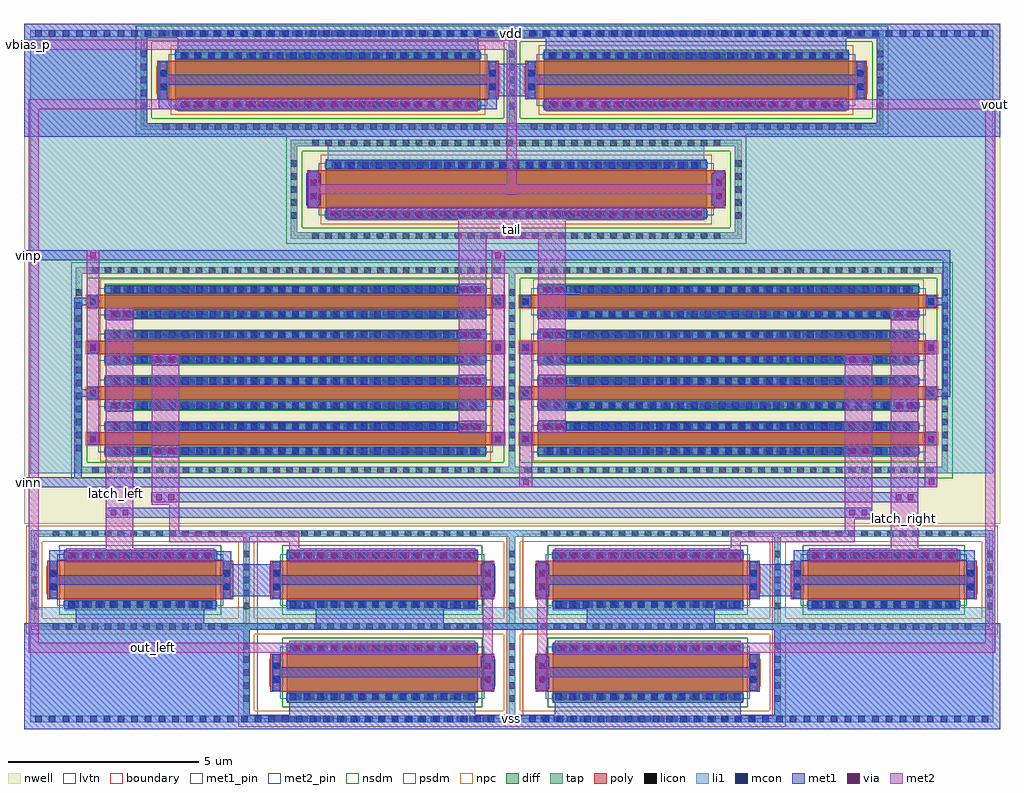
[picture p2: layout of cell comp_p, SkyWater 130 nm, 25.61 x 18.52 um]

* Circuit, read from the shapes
.subckt comp_p latch_left latch_right out_left tail vbias_p vdd vinn vinp vout vss
XM1 latch_left latch_left vss vss sky130_fd_pr__nfet_01v8_lvt w=4 l=1
XM2 out_left latch_left vss vss sky130_fd_pr__nfet_01v8_lvt w=5 l=1
XM3 latch_right latch_left vss vss sky130_fd_pr__nfet_01v8_lvt w=5 l=1
XM4 vout latch_right vss vss sky130_fd_pr__nfet_01v8_lvt w=5 l=1
XM5 latch_left latch_right vss vss sky130_fd_pr__nfet_01v8_lvt w=5 l=1
XM6 latch_right latch_right vss vss sky130_fd_pr__nfet_01v8_lvt w=4 l=1
XM7 tail vinp latch_right vdd sky130_fd_pr__pfet_01v8_lvt w=9.995 l=0.35 m=4
XM8 tail vinn latch_left vdd sky130_fd_pr__pfet_01v8_lvt w=9.995 l=0.35 m=4
XM9 vdd out_left out_left vdd sky130_fd_pr__pfet_01v8_lvt w=8 l=1
XM10 vdd vbias_p tail vdd sky130_fd_pr__pfet_01v8_lvt w=10 l=1
XM11 vdd out_left vout vdd sky130_fd_pr__pfet_01v8_lvt w=8 l=1
.ends

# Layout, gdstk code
from math import pi, radians
import gdstk
lib = gdstk.Library(unit=1e-6, precision=1e-09)
def R(c, l, rs):  # rectangles x0, y0, x1, y1
    for r in rs: c.add(gdstk.rectangle(r[:2], r[2:], *l))
def A(c, l, x, y, w, h, nx, ny, dx, dy):  # array of equal rectangles
    R(c, l, [(x+i*dx, y+j*dy, x+i*dx+w, y+j*dy+h) for i in range(nx) for j in range(ny)])
nwell = (64, 20)
diff = (65, 20)
tap = (65, 44)
poly = (66, 20)
licon = (66, 44)
li1 = (67, 20)
mcon = (67, 44)
met1_pin = (68, 16)
met1 = (68, 20)
via = (68, 44)
met2_pin = (69, 16)
met2 = (69, 20)
nsdm = (93, 44)
psdm = (94, 20)
npc = (95, 20)
lvtn = (125, 44)
boundary = (235, 4)

sky130_fd_pr__pfet_01v8_ = lib.new_cell('sky130_fd_pr__pfet_01v8_lvt_GUWLND')
R(sky130_fd_pr__pfet_01v8_, nwell, [(-1.48,-6.095,1.48,6.095)])
R(sky130_fd_pr__pfet_01v8_, diff, [(-0.79,-5,0.79,5)])
R(sky130_fd_pr__pfet_01v8_, tap, [(-1.3,-5.915,1.3,-5.745), (-1.3,-5.745,-1.13,5.745), (1.13,-5.745,1.3,5.745), (-1.3,5.745,1.3,5.915)])
R(sky130_fd_pr__pfet_01v8_, poly, [(-0.5,-5.485,0.5,5.485)])
A(sky130_fd_pr__pfet_01v8_, licon, -0.765, -5.915, 0.17, 0.17, 5, 2, 0.34, 11.66)
A(sky130_fd_pr__pfet_01v8_, licon, -1.3, -5.355, 0.17, 0.17, 1, 32, 0, 0.34)
A(sky130_fd_pr__pfet_01v8_, licon, 1.13, -5.355, 0.17, 0.17, 1, 32, 0, 0.34)
A(sky130_fd_pr__pfet_01v8_, licon, -0.73, -4.845, 0.17, 0.17, 1, 29, 0, 0.34)
A(sky130_fd_pr__pfet_01v8_, licon, 0.56, -4.845, 0.17, 0.17, 1, 29, 0, 0.34)
R(sky130_fd_pr__pfet_01v8_, licon, [(-0.255,-5.405,-0.085,-5.235), (0.085,-5.405,0.255,-5.235), (-0.255,5.235,-0.085,5.405), (0.085,5.235,0.255,5.405)])
R(sky130_fd_pr__pfet_01v8_, li1, [(-1.3,-5.915,1.3,-5.745), (-1.3,-5.745,-1.13,5.745), (1.13,-5.745,1.3,5.745), (-0.5,-5.405,0.5,-5.235), (-0.73,-5.02,-0.56,5.02), (0.56,-5.02,0.73,5.02), (-0.5,5.235,0.5,5.405), (-1.3,5.745,1.3,5.915)])
A(sky130_fd_pr__pfet_01v8_, mcon, -0.73, -4.765, 0.17, 0.17, 1, 27, 0, 0.36)
A(sky130_fd_pr__pfet_01v8_, mcon, 0.56, -4.765, 0.17, 0.17, 1, 27, 0, 0.36)
R(sky130_fd_pr__pfet_01v8_, mcon, [(-0.265,-5.405,-0.095,-5.235), (0.095,-5.405,0.265,-5.235), (-0.265,5.235,-0.095,5.405), (0.095,5.235,0.265,5.405)])
R(sky130_fd_pr__pfet_01v8_, met1, [(-0.48,-5.435,0.48,-5.205), (-0.76,-5,-0.53,5), (0.53,-5,0.76,5), (-0.48,5.205,0.48,5.435)])
R(sky130_fd_pr__pfet_01v8_, nsdm, [(-1.425,-6.04,1.425,-5.62), (-1.425,-5.62,-1.005,5.62), (1.005,-5.62,1.425,5.62), (-1.425,5.62,1.425,6.04)])
R(sky130_fd_pr__pfet_01v8_, psdm, [(-0.915,-5.125,0.915,5.125)])
R(sky130_fd_pr__pfet_01v8_, npc, [(-0.355,-5.505,0.355,-5.135), (-0.355,5.135,0.355,5.505)])
R(sky130_fd_pr__pfet_01v8_, lvtn, [(-0.68,-5.18,0.68,5.18)])
R(sky130_fd_pr__pfet_01v8_, boundary, [(-1.215,-5.83,1.215,5.83)])

c_sky130_fd_pr__pfet_01v8_ = lib.new_cell('sky130_fd_pr__pfet_01v8_lvt_5VNMZ8')
R(c_sky130_fd_pr__pfet_01v8_, nwell, [(-1.48,-5.095,1.48,5.095)])
R(c_sky130_fd_pr__pfet_01v8_, diff, [(-0.79,-4,0.79,4)])
R(c_sky130_fd_pr__pfet_01v8_, tap, [(-1.3,-4.915,1.3,-4.745), (-1.3,-4.745,-1.13,4.745), (1.13,-4.745,1.3,4.745), (-1.3,4.745,1.3,4.915)])
R(c_sky130_fd_pr__pfet_01v8_, poly, [(-0.5,-4.485,0.5,4.485)])
A(c_sky130_fd_pr__pfet_01v8_, licon, -0.765, -4.915, 0.17, 0.17, 5, 2, 0.34, 9.66)
A(c_sky130_fd_pr__pfet_01v8_, licon, -1.3, -4.335, 0.17, 0.17, 1, 26, 0, 0.34)
A(c_sky130_fd_pr__pfet_01v8_, licon, 1.13, -4.335, 0.17, 0.17, 1, 26, 0, 0.34)
A(c_sky130_fd_pr__pfet_01v8_, licon, -0.73, -3.825, 0.17, 0.17, 1, 23, 0, 0.34)
A(c_sky130_fd_pr__pfet_01v8_, licon, 0.56, -3.825, 0.17, 0.17, 1, 23, 0, 0.34)
R(c_sky130_fd_pr__pfet_01v8_, licon, [(-0.255,-4.405,-0.085,-4.235), (0.085,-4.405,0.255,-4.235), (-0.255,4.235,-0.085,4.405), (0.085,4.235,0.255,4.405)])
R(c_sky130_fd_pr__pfet_01v8_, li1, [(-1.3,-4.915,1.3,-4.745), (-1.3,-4.745,-1.13,4.745), (1.13,-4.745,1.3,4.745), (-0.5,-4.405,0.5,-4.235), (-0.73,-4.02,-0.56,4.02), (0.56,-4.02,0.73,4.02), (-0.5,4.235,0.5,4.405), (-1.3,4.745,1.3,4.915)])
A(c_sky130_fd_pr__pfet_01v8_, mcon, -0.73, -3.865, 0.17, 0.17, 1, 22, 0, 0.36)
A(c_sky130_fd_pr__pfet_01v8_, mcon, 0.56, -3.865, 0.17, 0.17, 1, 22, 0, 0.36)
R(c_sky130_fd_pr__pfet_01v8_, mcon, [(-0.265,-4.405,-0.095,-4.235), (0.095,-4.405,0.265,-4.235), (-0.265,4.235,-0.095,4.405), (0.095,4.235,0.265,4.405)])
R(c_sky130_fd_pr__pfet_01v8_, met1, [(-0.48,-4.435,0.48,-4.205), (-0.76,-4,-0.53,4), (0.53,-4,0.76,4), (-0.48,4.205,0.48,4.435)])
R(c_sky130_fd_pr__pfet_01v8_, nsdm, [(-1.425,-5.04,1.425,-4.62), (-1.425,-4.62,-1.005,4.62), (1.005,-4.62,1.425,4.62), (-1.425,4.62,1.425,5.04)])
R(c_sky130_fd_pr__pfet_01v8_, psdm, [(-0.915,-4.125,0.915,4.125)])
R(c_sky130_fd_pr__pfet_01v8_, npc, [(-0.355,-4.505,0.355,-4.135), (-0.355,4.135,0.355,4.505)])
R(c_sky130_fd_pr__pfet_01v8_, lvtn, [(-0.68,-4.18,0.68,4.18)])
R(c_sky130_fd_pr__pfet_01v8_, boundary, [(-1.215,-4.83,1.215,4.83)])

sky130_fd_pr__nfet_01v8_ = lib.new_cell('sky130_fd_pr__nfet_01v8_lvt_MMMA4V')
R(sky130_fd_pr__nfet_01v8_, diff, [(-0.79,-2.5,0.79,2.5)])
R(sky130_fd_pr__nfet_01v8_, tap, [(-1.3,-3.49,1.3,-3.32), (-1.3,-3.32,-1.13,3.48), (1.13,-3.32,1.3,3.48), (-1.3,3.48,1.3,3.65)])
R(sky130_fd_pr__nfet_01v8_, poly, [(-0.5,-2.94,0.5,2.94)])
A(sky130_fd_pr__nfet_01v8_, licon, -0.765, -3.49, 0.17, 0.17, 5, 2, 0.34, 6.97)
A(sky130_fd_pr__nfet_01v8_, licon, -1.3, -2.805, 0.17, 0.17, 1, 17, 0, 0.34)
A(sky130_fd_pr__nfet_01v8_, licon, 1.13, -2.805, 0.17, 0.17, 1, 17, 0, 0.34)
A(sky130_fd_pr__nfet_01v8_, licon, -0.73, -2.295, 0.17, 0.17, 1, 14, 0, 0.34)
A(sky130_fd_pr__nfet_01v8_, licon, 0.56, -2.295, 0.17, 0.17, 1, 14, 0, 0.34)
R(sky130_fd_pr__nfet_01v8_, licon, [(-0.255,-2.86,-0.085,-2.69), (0.085,-2.86,0.255,-2.69), (-0.255,2.69,-0.085,2.86), (0.085,2.69,0.255,2.86)])
R(sky130_fd_pr__nfet_01v8_, li1, [(-1.3,-3.49,1.3,-3.32), (-1.3,-3.32,-1.13,3.48), (1.13,-3.32,1.3,3.48), (-0.5,-2.86,0.5,-2.69), (-0.73,-2.52,-0.56,2.52), (0.56,-2.52,0.73,2.52), (-0.5,2.69,0.5,2.86), (-1.3,3.48,1.3,3.65)])
A(sky130_fd_pr__nfet_01v8_, mcon, -0.73, -2.425, 0.17, 0.17, 1, 14, 0, 0.36)
A(sky130_fd_pr__nfet_01v8_, mcon, 0.56, -2.425, 0.17, 0.17, 1, 14, 0, 0.36)
R(sky130_fd_pr__nfet_01v8_, mcon, [(-0.265,-2.86,-0.095,-2.69), (0.095,-2.86,0.265,-2.69), (-0.265,2.69,-0.095,2.86), (0.095,2.69,0.265,2.86)])
R(sky130_fd_pr__nfet_01v8_, met1, [(-0.48,-2.89,0.48,-2.66), (-0.76,-2.5,-0.53,2.5), (0.53,-2.5,0.76,2.5), (-0.48,2.66,0.48,2.89)])
R(sky130_fd_pr__nfet_01v8_, nsdm, [(-0.915,-2.625,0.915,2.625)])
R(sky130_fd_pr__nfet_01v8_, psdm, [(-1.425,-3.615,1.425,-3.195), (-1.425,-3.195,-1.005,3.355), (1.005,-3.195,1.425,3.355), (-1.425,3.355,1.425,3.775)])
R(sky130_fd_pr__nfet_01v8_, npc, [(-0.355,-2.96,0.355,-2.59), (-0.355,2.59,0.355,2.96)])
R(sky130_fd_pr__nfet_01v8_, lvtn, [(-0.68,-2.68,0.68,2.68)])
R(sky130_fd_pr__nfet_01v8_, boundary, [(-1.21,-3.28,1.21,3.28)])

c_sky130_fd_pr__nfet_01v8_ = lib.new_cell('sky130_fd_pr__nfet_01v8_lvt_AHMAL2')
R(c_sky130_fd_pr__nfet_01v8_, diff, [(-0.79,-2,0.79,2)])
R(c_sky130_fd_pr__nfet_01v8_, tap, [(-1.3,-2.87,1.3,-2.7), (-1.3,-2.7,-1.13,2.7), (1.13,-2.7,1.3,2.7), (-1.3,2.7,1.3,2.87)])
R(c_sky130_fd_pr__nfet_01v8_, poly, [(-0.5,-2.44,0.5,2.44)])
A(c_sky130_fd_pr__nfet_01v8_, licon, -0.765, -2.87, 0.17, 0.17, 5, 2, 0.34, 5.57)
A(c_sky130_fd_pr__nfet_01v8_, licon, -1.3, -2.295, 0.17, 0.17, 1, 14, 0, 0.34)
A(c_sky130_fd_pr__nfet_01v8_, licon, 1.13, -2.295, 0.17, 0.17, 1, 14, 0, 0.34)
A(c_sky130_fd_pr__nfet_01v8_, licon, -0.73, -1.785, 0.17, 0.17, 1, 11, 0, 0.34)
A(c_sky130_fd_pr__nfet_01v8_, licon, 0.56, -1.785, 0.17, 0.17, 1, 11, 0, 0.34)
R(c_sky130_fd_pr__nfet_01v8_, licon, [(-0.255,-2.36,-0.085,-2.19), (0.085,-2.36,0.255,-2.19), (-0.255,2.19,-0.085,2.36), (0.085,2.19,0.255,2.36)])
R(c_sky130_fd_pr__nfet_01v8_, li1, [(-1.3,-2.87,1.3,-2.7), (-1.3,-2.7,-1.13,2.7), (1.13,-2.7,1.3,2.7), (-0.5,-2.36,0.5,-2.19), (-0.73,-2.02,-0.56,2.02), (0.56,-2.02,0.73,2.02), (-0.5,2.19,0.5,2.36), (-1.3,2.7,1.3,2.87)])
A(c_sky130_fd_pr__nfet_01v8_, mcon, -0.73, -1.885, 0.17, 0.17, 1, 11, 0, 0.36)
A(c_sky130_fd_pr__nfet_01v8_, mcon, 0.56, -1.885, 0.17, 0.17, 1, 11, 0, 0.36)
R(c_sky130_fd_pr__nfet_01v8_, mcon, [(-0.265,-2.36,-0.095,-2.19), (0.095,-2.36,0.265,-2.19), (-0.265,2.19,-0.095,2.36), (0.095,2.19,0.265,2.36)])
R(c_sky130_fd_pr__nfet_01v8_, met1, [(-0.48,-2.39,0.48,-2.16), (-0.76,-2,-0.53,2), (0.53,-2,0.76,2), (-0.48,2.16,0.48,2.39)])
R(c_sky130_fd_pr__nfet_01v8_, nsdm, [(-0.915,-2.125,0.915,2.125)])
R(c_sky130_fd_pr__nfet_01v8_, psdm, [(-1.425,-2.995,1.425,-2.575), (-1.425,-2.575,-1.005,2.575), (1.005,-2.575,1.425,2.575), (-1.425,2.575,1.425,2.995)])
R(c_sky130_fd_pr__nfet_01v8_, npc, [(-0.355,-2.46,0.355,-2.09), (-0.355,2.09,0.355,2.46)])
R(c_sky130_fd_pr__nfet_01v8_, lvtn, [(-0.68,-2.18,0.68,2.18)])
R(c_sky130_fd_pr__nfet_01v8_, boundary, [(-1.21,-2.78,1.21,2.78)])

comp_p = lib.new_cell('comp_p')
R(comp_p, nwell, [(-15.01,12.71,10.6,23.55), (-15.01,23.55,-2.83,23.58), (-2.59,23.55,10.6,23.58), (-15.01,23.58,10.6,25.83)])
A(comp_p, diff, -12.885, 14.47, 9.995, 0.93, 1, 4, 0, 1.2)
A(comp_p, diff, -1.525, 14.47, 9.995, 0.93, 1, 4, 0, 1.2)
R(comp_p, tap, [(-13.65,14.03,9.235,14.2), (-13.65,14.2,-13.48,19.27), (-2.29,14.2,-2.12,19.27), (9.065,14.2,9.235,19.27), (-13.65,19.27,9.235,19.44)])
A(comp_p, poly, -13.37, 14.76, 10.965, 0.35, 1, 4, 0, 1.2)
A(comp_p, poly, -2.01, 14.76, 10.965, 0.35, 1, 4, 0, 1.2)
A(comp_p, licon, -13.225, 14.03, 0.17, 0.17, 32, 2, 0.34, 5.24)
A(comp_p, licon, -1.865, 14.03, 0.17, 0.17, 32, 2, 0.34, 5.24)
A(comp_p, licon, -12.735, 14.53, 0.17, 0.17, 29, 2, 0.34, 0.64)
A(comp_p, licon, -1.375, 14.53, 0.17, 0.17, 29, 2, 0.34, 0.64)
A(comp_p, licon, -13.65, 14.61, 0.17, 0.17, 1, 13, 0, 0.34)
A(comp_p, licon, -2.29, 14.61, 0.17, 0.17, 1, 13, 0, 0.34)
A(comp_p, licon, 9.065, 14.61, 0.17, 0.17, 1, 13, 0, 0.34)
A(comp_p, licon, -13.29, 14.85, 0.17, 0.17, 1, 4, 0, 1.2)
A(comp_p, licon, -2.655, 14.85, 0.17, 0.17, 1, 4, 0, 1.2)
A(comp_p, licon, -1.93, 14.85, 0.17, 0.17, 1, 4, 0, 1.2)
A(comp_p, licon, 8.705, 14.85, 0.17, 0.17, 1, 4, 0, 1.2)
A(comp_p, licon, -12.735, 15.73, 0.17, 0.17, 29, 2, 0.34, 0.64)
A(comp_p, licon, -1.365, 15.73, 0.17, 0.17, 29, 2, 0.34, 2.4)
A(comp_p, licon, -1.375, 16.37, 0.17, 0.17, 29, 2, 0.34, 0.56)
A(comp_p, licon, -12.735, 16.93, 0.17, 0.17, 29, 2, 0.34, 0.64)
A(comp_p, licon, -1.375, 17.57, 0.17, 0.17, 29, 2, 0.34, 1.2)
A(comp_p, licon, -12.735, 18.13, 0.17, 0.17, 29, 2, 0.34, 0.64)
A(comp_p, li1, -13.29, 14.76, 0.17, 0.35, 1, 4, 0, 1.2)
A(comp_p, li1, -2.655, 14.76, 0.17, 0.35, 1, 4, 0, 1.2)
A(comp_p, li1, -1.93, 14.76, 0.17, 0.35, 1, 4, 0, 1.2)
A(comp_p, li1, 8.705, 14.76, 0.17, 0.35, 1, 4, 0, 1.2)
R(comp_p, li1, [(-14.84,7.5,10.42,7.67), (-14.84,7.67,-9.09,9.93), (4.68,7.67,10.42,9.93), (-14.84,9.93,10.42,10.51), (-13.9,10.51,-10.02,10.7), (-8.05,10.51,-3.17,10.67), (-1.08,10.51,3.8,10.67), (5.61,10.51,9.49,10.7), (-14.84,14.03,10.42,14.2), (-14.84,14.2,-13.48,19.27), (-2.29,14.2,-2.12,19.27), (9.065,14.2,10.42,19.27), (-12.905,14.53,-2.87,14.7), (-1.545,14.53,8.49,14.7), (-12.905,15.17,-2.87,15.34), (-1.545,15.17,8.49,15.34), (7.73,15.64,8.45,15.73), (-12.905,15.73,-2.87,15.9), (-1.545,15.73,8.49,15.9), (7.73,15.9,8.45,15.98), (-12.905,16.37,-2.87,16.54), (-1.545,16.37,8.49,16.54), (-12.905,16.93,-2.87,17.1), (-1.545,16.93,8.49,17.1), (-12.905,17.57,-2.87,17.74), (-1.545,17.57,8.49,17.74), (7.73,18.04,8.45,18.13), (-12.905,18.13,-2.87,18.3), (-1.545,18.13,8.49,18.3), (7.73,18.3,8.45,18.38), (-12.905,18.77,-2.87,18.94), (-1.545,18.77,8.49,18.94), (-14.84,19.27,10.42,20.35), (-14.84,20.35,-7.84,22.61), (3.64,20.35,10.42,22.61), (-7.035,22.04,2.845,22.61), (-14.84,22.61,10.42,23.22), (-14.84,23.22,-11.77,25.48), (3.64,23.22,10.42,23.23), (7.37,23.23,10.42,25.48), (-14.84,25.48,10.42,25.65)])
A(comp_p, mcon, -14.715, 7.5, 0.17, 0.17, 70, 2, 0.36, 17.98)
A(comp_p, mcon, -12.655, 14.53, 0.17, 0.17, 27, 2, 0.36, 0.64)
A(comp_p, mcon, -1.295, 14.53, 0.17, 0.17, 27, 2, 0.36, 0.64)
A(comp_p, mcon, -13.29, 14.85, 0.17, 0.17, 1, 4, 0, 1.2)
A(comp_p, mcon, -2.655, 14.85, 0.17, 0.17, 1, 4, 0, 1.2)
A(comp_p, mcon, -1.93, 14.85, 0.17, 0.17, 1, 4, 0, 1.2)
A(comp_p, mcon, 8.705, 14.85, 0.17, 0.17, 1, 4, 0, 1.2)
A(comp_p, mcon, -12.655, 15.73, 0.17, 0.17, 27, 2, 0.36, 0.64)
A(comp_p, mcon, -1.465, 15.73, 0.17, 0.17, 28, 2, 0.36, 2.4)
A(comp_p, mcon, -1.295, 16.37, 0.17, 0.17, 27, 2, 0.36, 0.56)
A(comp_p, mcon, -12.655, 16.93, 0.17, 0.17, 27, 2, 0.36, 0.64)
A(comp_p, mcon, -1.295, 17.57, 0.17, 0.17, 27, 2, 0.36, 1.2)
A(comp_p, mcon, -12.655, 18.13, 0.17, 0.17, 27, 2, 0.36, 0.64)
R(comp_p, met1_pin, [(-14.84,7.5,10.42,7.67), (-15.01,13.67,-14.75,13.93), (-15.01,19.62,-14.75,19.88), (-14.84,25.48,10.42,25.65)])
A(comp_p, met1, -12.885, 14.5, 9.995, 0.23, 1, 4, 0, 1.2)
A(comp_p, met1, -3.6, 15.09, 0.72, 0.05, 1, 4, 0, 1.2)
A(comp_p, met1, -12.885, 15.14, 10.005, 0.23, 1, 4, 0, 1.2)
A(comp_p, met1, -3.6, 15.37, 0.72, 0.04, 1, 4, 0, 1.2)
R(comp_p, met1, [(4.68,7.31,10.6,7.32), (-15.01,7.32,10.6,7.7), (-15.01,7.7,-9.09,9.93), (-8.05,7.7,-3.17,8.24), (-1.08,7.7,3.8,8.24), (4.68,7.7,10.6,9.93), (-3.02,8.38,-2.66,8.68), (-1.59,8.38,-1.23,8.68), (-8.5,8.68,-2.66,8.94), (-1.59,8.68,4.22,8.94), (-3.02,8.94,-2.66,9.22), (-1.59,8.94,-1.23,9.22), (-8.1,9.32,-3.12,9.58), (-1.13,9.32,3.85,9.58), (-15.01,9.93,10.6,10.1), (-13.65,10.1,-10.28,10.67), (-7.36,10.1,-3.99,10.7), (-0.25,10.1,3.12,10.67), (-14.35,10.75,-14.12,11.1), (-9.8,10.75,-9.57,10.81), (-9.8,10.81,-8.3,11.1), (-3.02,10.81,-2.66,11.1), (-1.59,10.81,-1.23,11.1), (4.05,10.81,5.39,11.1), (9.74,10.81,9.91,11.1), (-14.35,11.1,-2.66,11.36), (-1.59,11.1,9.94,11.36), (-14.35,11.36,-14.12,11.75), (-9.8,11.36,-8.3,11.65), (-3.02,11.36,-2.66,11.65), (-1.59,11.36,-1.23,11.65), (4.05,11.36,5.39,11.65), (9.74,11.36,9.91,11.57), (9.71,11.57,9.94,11.75), (-9.8,11.65,-9.57,11.75), (5.19,11.65,5.39,11.73), (5.19,11.73,5.55,11.75), (-14.35,11.75,-9.57,11.99), (-8.1,11.75,-3.12,12.01), (-1.13,11.75,3.85,12.01), (5.19,11.75,9.94,12.01), (-14.35,11.99,-9.97,12.01), (-12.87,12.87,7.25,13.13), (-11.67,13.27,8.45,13.53), (-15.01,13.67,8.96,13.93), (-13.69,13.93,-13.5,16.04), (-11.66,14.45,-10.94,14.5), (6.53,14.48,7.25,14.5), (-1.525,14.5,8.47,14.73), (-11.66,14.73,-10.94,14.76), (6.53,14.73,7.25,14.74), (-2.74,14.76,-2.4,15.11), (-2.01,14.76,-1.67,15.11), (8.63,14.76,8.96,15.12), (-13.36,14.78,-13.04,15.09), (-1.52,15.09,-0.8,15.14), (-1.525,15.14,8.47,15.37), (-1.52,15.37,-0.8,15.42), (7.73,15.64,8.45,15.7), (-12.86,15.65,-12.14,15.7), (-1.53,15.68,-0.47,15.7), (-1.53,15.7,8.47,15.93), (-12.86,15.93,-12.14,15.97), (-1.53,15.93,-0.47,15.94), (7.73,15.93,8.45,15.98), (-13.34,15.98,-13.06,16.04), (-2.7,15.98,-2.43,16.29), (-1.98,15.98,-1.7,16.29), (8.66,15.98,8.93,16.04), (-13.69,16.04,-13.06,16.23), (8.66,16.04,9.29,16.23), (-13.69,16.23,-13.5,18.44), (-13.34,16.23,-13.06,16.29), (8.66,16.23,8.93,16.29), (9.1,16.23,9.29,18.44), (-1.52,16.31,-0.47,16.34), (-1.525,16.34,8.47,16.57), (-1.52,16.57,-0.8,16.62), (-11.66,16.85,-10.94,16.9), (6.53,16.88,7.25,16.9), (-1.525,16.9,8.47,17.13), (-11.66,17.13,-10.94,17.16), (6.53,17.13,7.25,17.14), (-2.74,17.16,-2.4,17.51), (-2.01,17.16,-1.67,17.51), (8.63,17.16,8.96,17.52), (-13.36,17.18,-13.04,17.49), (-1.52,17.49,-0.8,17.54), (-1.525,17.54,8.47,17.77), (-1.52,17.77,-0.8,17.82), (7.73,18.04,8.45,18.1), (-12.86,18.05,-12.14,18.1), (-1.53,18.08,-0.43,18.1), (-1.53,18.1,8.47,18.33), (-12.86,18.33,-12.14,18.37), (-1.53,18.33,-0.43,18.34), (7.73,18.33,8.45,18.38), (-13.34,18.38,-13.06,18.44), (-2.7,18.38,-2.43,18.69), (-1.98,18.38,-1.7,18.69), (8.66,18.38,8.93,18.44), (-13.69,18.44,-13.06,18.63), (8.66,18.44,9.29,18.63), (-13.34,18.63,-13.06,18.69), (8.66,18.63,8.93,18.69), (9.1,18.63,9.29,19.62), (-1.52,18.71,-0.43,18.74), (-1.525,18.74,8.47,18.97), (-1.52,18.97,-0.82,18.98), (-15.01,19.62,9.29,19.88), (-7.085,20.72,2.895,20.98), (-7.6,21.06,-7.24,21.9), (3.04,21.06,3.4,21.9), (-15.01,22.86,10.6,23.22), (-15.01,23.22,-11.77,25.45), (7.36,23.22,10.6,25.45), (-11.47,23.58,-2.6,23.84), (-1.37,23.58,6.61,23.84), (-11.47,23.84,-11.24,23.9), (-2.83,23.84,-2.6,23.93), (-2.83,23.93,-1.61,24.23), (-11.26,24.23,7.03,24.49), (-2.83,24.49,-1.61,24.77), (-2.83,24.77,-2.6,24.83), (-10.975,24.91,-3.095,25.45), (-1.315,24.91,6.565,25.45), (-15.01,25.45,10.6,25.83)])
A(comp_p, via, -7.925, 9.375, 0.15, 0.15, 15, 2, 0.32, 2.43)
A(comp_p, via, -0.955, 9.375, 0.15, 0.15, 15, 2, 0.32, 2.43)
A(comp_p, via, -13.795, 11.805, 0.15, 0.15, 12, 1, 0.32, 0)
A(comp_p, via, 5.705, 11.805, 0.15, 0.15, 12, 1, 0.32, 0)
A(comp_p, via, -3.48, 15.175, 0.15, 0.15, 1, 4, 0, 1.2)
A(comp_p, via, -3.16, 15.175, 0.15, 0.15, 1, 4, 0, 1.2)
A(comp_p, via, -1.4, 15.175, 0.15, 0.15, 1, 4, 0, 1.2)
A(comp_p, via, -1.08, 15.175, 0.15, 0.15, 1, 4, 0, 1.2)
A(comp_p, via, -6.97, 20.775, 0.15, 0.15, 31, 1, 0.32, 0)
A(comp_p, via, -10.795, 23.635, 0.15, 0.15, 24, 1, 0.32, 0)
A(comp_p, via, -1.135, 23.635, 0.15, 0.15, 24, 1, 0.32, 0)
R(comp_p, via, [(-2.915,8.565,-2.765,8.715), (-1.485,8.565,-1.335,8.715), (-2.915,8.885,-2.765,9.035), (-1.485,8.885,-1.335,9.035), (-2.915,10.995,-2.765,11.145), (-1.485,10.995,-1.335,11.145), (-2.915,11.315,-2.765,11.465), (-1.485,11.315,-1.335,11.465), (-12.74,12.925,-12.59,13.075), (-12.42,12.925,-12.27,13.075), (6.65,12.925,6.8,13.075), (6.97,12.925,7.12,13.075), (-11.54,13.325,-11.39,13.475), (-11.22,13.325,-11.07,13.475), (7.86,13.325,8.01,13.475), (8.18,13.325,8.33,13.475), (-1.915,13.725,-1.765,13.875), (8.725,13.725,8.875,13.875), (-11.54,14.535,-11.39,14.685), (-11.22,14.535,-11.07,14.685), (6.66,14.535,6.81,14.685), (6.98,14.535,7.13,14.685), (-2.645,14.855,-2.495,15.005), (-1.905,14.855,-1.755,15.005), (-13.275,14.865,-13.125,15.015), (8.715,14.865,8.865,15.015), (-12.74,15.735,-12.59,15.885), (-12.42,15.735,-12.27,15.885), (7.86,15.735,8.01,15.885), (8.18,15.735,8.33,15.885), (-11.54,16.935,-11.39,17.085), (-11.22,16.935,-11.07,17.085), (6.66,16.935,6.81,17.085), (6.98,16.935,7.13,17.085), (-2.645,17.255,-2.495,17.405), (-1.905,17.255,-1.755,17.405), (-13.275,17.265,-13.125,17.415), (8.715,17.265,8.865,17.415), (-12.74,18.135,-12.59,18.285), (-12.42,18.135,-12.27,18.285), (7.86,18.135,8.01,18.285), (8.18,18.135,8.33,18.285), (-13.275,19.675,-13.125,19.825), (-2.645,19.675,-2.495,19.825), (-7.495,21.245,-7.345,21.395), (3.145,21.245,3.295,21.395), (-7.495,21.565,-7.345,21.715), (3.145,21.565,3.295,21.715)])
R(comp_p, met2_pin, [(10.34,23.58,10.6,23.84), (-15.01,25.14,-14.75,25.4)])
R(comp_p, met2, [(-2.97,8.33,-2.71,11.7), (-1.54,8.33,-1.28,11.7), (-8.05,9.27,-3.17,9.32), (-1.08,9.27,3.8,9.32), (-14.88,9.32,-3.17,9.58), (-1.08,9.32,10.47,9.58), (-14.88,9.58,-14.62,23.58), (-8.05,9.58,-3.17,9.63), (-1.08,9.58,3.8,9.63), (10.21,9.58,10.47,23.58), (-13.9,11.7,-10.02,12.06), (-8.05,11.7,-3.17,12.06), (-1.08,11.7,3.8,12.06), (5.6,11.7,9.48,12.06), (-12.86,12.06,-12.14,18.37), (-8.05,12.06,-7.79,12.22), (3.54,12.06,3.8,12.22), (7.73,12.06,8.45,18.38), (-11.2,12.22,-7.79,12.48), (3.54,12.22,6.79,12.48), (-11.2,12.48,-10.94,13.2), (-8.05,12.48,-7.79,12.49), (6.53,12.48,6.79,12.82), (6.53,12.82,7.2,12.87), (6.53,12.87,7.25,17.14), (-11.66,13.2,-10.94,17.16), (-2.01,13.67,-1.67,17.51), (8.63,13.67,8.96,17.52), (-13.37,14.76,-13.03,15.11), (-2.74,14.76,-2.4,19.88), (-1.52,15.09,-0.8,20.185), (-13.37,15.11,-13.04,17.16), (-3.6,15.11,-2.88,20.185), (-13.37,17.16,-13.03,19.88), (-3.61,20.185,-0.8,20.67), (-7.035,20.67,2.845,21.03), (-7.55,21.01,-7.29,21.35), (3.09,21.01,3.35,21.35), (-2.34,21.34,-2.08,21.35), (-7.55,21.35,3.35,21.61), (-7.55,21.61,-7.29,21.95), (-2.34,21.61,-2.08,25.14), (3.09,21.61,3.35,21.95), (-10.98,23.53,-3.1,23.58), (-1.32,23.53,6.56,23.58), (-14.88,23.58,-3.1,23.84), (-1.32,23.58,10.6,23.84), (-10.98,23.84,-3.1,23.89), (-1.32,23.84,6.56,23.89), (-15.01,25.14,-2.08,25.4)])
R(comp_p, nsdm, [(-13.775,13.905,9.36,14.325), (-13.775,14.325,-13.355,19.145), (-2.415,14.325,-1.995,19.145), (8.94,14.325,9.36,19.145), (-13.775,19.145,9.36,19.565), (-8.135,22.905,3.945,22.925)])
R(comp_p, psdm, [(-13.01,14.345,-2.765,19.125), (-1.65,14.345,8.595,19.125)])
A(comp_p, npc, -13.39, 14.75, 0.37, 0.37, 1, 4, 0, 1.2)
A(comp_p, npc, -2.755, 14.75, 0.37, 0.37, 1, 4, 0, 1.2)
A(comp_p, npc, -2.03, 14.75, 0.37, 0.37, 1, 4, 0, 1.2)
A(comp_p, npc, 8.605, 14.75, 0.37, 0.37, 1, 4, 0, 1.2)
A(comp_p, lvtn, -13.065, 14.58, 10.355, 0.71, 1, 4, 0, 1.2)
A(comp_p, lvtn, -1.705, 14.58, 10.355, 0.71, 1, 4, 0, 1.2)
comp_p.add(gdstk.Reference(sky130_fd_pr__pfet_01v8_, (-2.095,21.48), rotation=pi/2))
comp_p.add(gdstk.Reference(c_sky130_fd_pr__pfet_01v8_, (2.625,24.35), rotation=pi/2))
comp_p.add(gdstk.Reference(sky130_fd_pr__nfet_01v8_, (1.36,8.8), rotation=pi/2))
comp_p.add(gdstk.Reference(sky130_fd_pr__nfet_01v8_, (-5.61,8.8), rotation=pi/2))
comp_p.add(gdstk.Reference(c_sky130_fd_pr__nfet_01v8_, (7.55,11.23), rotation=pi/2))
comp_p.add(gdstk.Reference(c_sky130_fd_pr__nfet_01v8_, (-11.96,11.23), rotation=pi/2))
comp_p.add(gdstk.Reference(sky130_fd_pr__nfet_01v8_, (1.36,11.23), rotation=pi/2))
comp_p.add(gdstk.Reference(sky130_fd_pr__nfet_01v8_, (-5.61,11.23), rotation=pi/2))
comp_p.add(gdstk.Reference(c_sky130_fd_pr__pfet_01v8_, (-7.035,24.35), rotation=pi/2))
comp_p.add(gdstk.Label('latch_right', (8.09,12.84), layer=69, texttype=5))
comp_p.add(gdstk.Label('tail', (-2.21,20.43), layer=69, texttype=5))
comp_p.add(gdstk.Label('out_left', (-11.62,9.45), layer=69, texttype=5))
comp_p.add(gdstk.Label('latch_left', (-12.58,13.49), layer=69, texttype=5))
comp_p.add(gdstk.Label('vinp', (-14.88,19.75), layer=68, texttype=5))
comp_p.add(gdstk.Label('vinn', (-14.88,13.8), layer=68, texttype=5))
comp_p.add(gdstk.Label('vbias_p', (-14.88,25.27), layer=69, texttype=5))
comp_p.add(gdstk.Label('vout', (10.47,23.71), layer=69, texttype=5))
comp_p.add(gdstk.Label('vdd', (-2.21,25.565), layer=68, texttype=5))
comp_p.add(gdstk.Label('vss', (-2.21,7.585), layer=68, texttype=5))

lib.write_gds('comp_p.gds')
